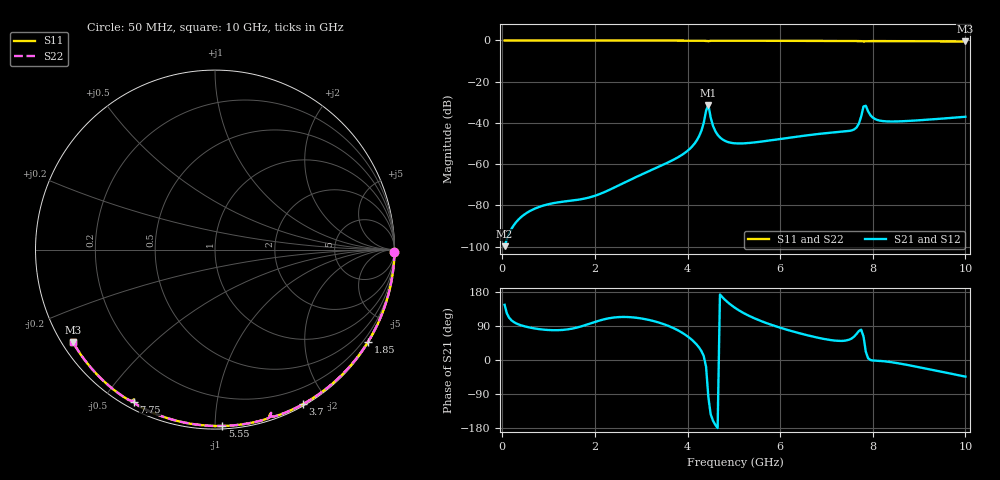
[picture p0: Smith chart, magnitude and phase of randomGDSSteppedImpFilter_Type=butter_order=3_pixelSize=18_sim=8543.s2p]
! freq	dB(S11)	phase(S11)	dB(S12)	phase(S12)
!  dB(S21)	phase(S21)	dB(S22)	phase(S22)
!S-par simulation data
#  GHz  S  DB  R 50
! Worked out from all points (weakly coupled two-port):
!   200 points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, 50 MHz to 10 GHz, reference 50 ohm
!   highest |S21| = -31.28 dB at 4.45 GHz (marker M1); lowest = -99.7 dB at 50 MHz (marker M2)
!   lowest |S11| = -0.5 dB at 10 GHz (marker M3), VSWR 35.09, Z = 1.55 - j14.9 ohm
!   |S11| at or under -10 dB: nowhere
!   |S22| runs from -0.5 to 0.0 dB; largest |S21 - S12| = 0
!   S11 on the Smith chart (normalised r, x): 50 MHz: open; 1.85 GHz: 0.03, -3.60; 3.7 GHz: 0.02, -1.71; 5.55 GHz: 0.02, -1.04; 7.75 GHz: 0.03, -0.60; 10 GHz: 0.03, -0.30
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0.05  -0.00 -0.9  -99.75 145.6  -99.75 145.6  -0.00 -0.9
0.9  -0.02 -15.3  -79.96 80.0  -79.96 80.0  -0.02 -15.3
1.75  -0.04 -29.4  -76.79 90.4  -76.79 90.4  -0.04 -29.4
1.85  -0.04 -31.0  -76.29 94.3  -76.29 94.3  -0.04 -31.0
3.4  -0.07 -55.9  -61.01 98.1  -61.01 98.1  -0.07 -55.9
3.7  -0.08 -60.5  -57.80 84.0  -57.80 84.0  -0.08 -60.5
4.2  -0.10 -68.3  -48.44 40.4  -48.44 40.4  -0.10 -68.3
4.3  -0.11 -69.9  -43.74 23.6  -43.74 23.6  -0.11 -69.9
4.45  -0.34 -71.0  -31.28 -98.3  -31.28 -98.3  -0.34 -71.0
4.55  -0.13 -72.8  -41.42 -160.2  -41.42 -160.2  -0.13 -72.8
4.65  -0.12 -74.4  -45.75 -179.7  -45.75 -179.7  -0.12 -74.4
5.05  -0.13 -80.4  -49.89 135.8  -49.89 135.8  -0.13 -80.4
5.55  -0.14 -87.6  -49.16 104.6  -49.16 104.6  -0.14 -87.6
6.7  -0.20 -103.6  -45.68 62.0  -45.68 62.0  -0.20 -103.6
7.55  -0.27 -115.1  -43.58 57.3  -43.58 57.3  -0.27 -115.1
7.65  -0.28 -116.5  -42.19 68.8  -42.19 68.8  -0.28 -116.6
7.75  -0.35 -118.1  -36.81 79.9  -36.81 79.9  -0.35 -118.1
7.8  -0.45 -118.5  -32.01 62.1  -32.01 62.1  -0.45 -118.5
7.85  -0.41 -118.2  -31.65 21.6  -31.65 21.6  -0.41 -118.2
8  -0.30 -120.5  -37.41 -1.2  -37.41 -1.2  -0.30 -120.5
8.35  -0.32 -125.2  -39.28 -4.9  -39.28 -4.9  -0.32 -125.3
10  -0.50 -146.8  -37.00 -43.8  -37.00 -43.8  -0.50 -146.8
